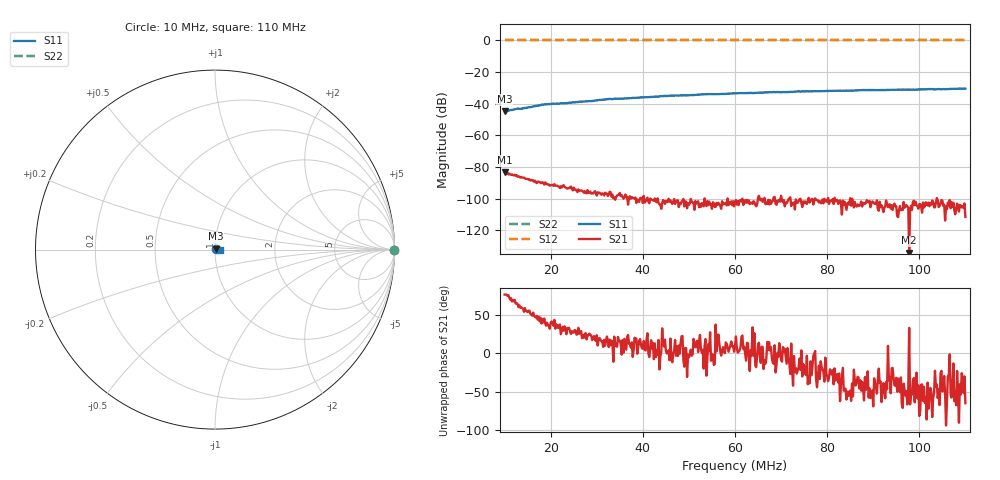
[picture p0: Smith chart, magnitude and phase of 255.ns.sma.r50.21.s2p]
! Anritsu VNA Master:  Model: MS2036C/10/77
! SN:  1601066
! /card0/usr/255.ns.sma.r50.21.s2p
! Existing Calibration Information:
! TYPE:  Current Settings,  Active Cal Settings
! TIME:  12/19/2017 07:12:53 PM,  12/19/2017 06:59:48 PM
! INTERNAL TEMP:  40.0 C,  39.3 C
! # POINTS:  501,  501
! START FREQ:  10.000 MHz,  10.000 MHz
! STOP FREQ:  110.000 MHz,  110.000 MHz
! SOURCE POWER:  High,  High
! IFBW:  100 Hz,  100 Hz
! AVG FACTOR:  1 ,  1
! REF PLANE 1:  0 mm,  0 mm
! REF PLANE 2:  0 mm,  0 mm
! CAL TYPE:  Full S11,  Full S11
! CAL METHOD:  SOLT,  SOLT
! CAL LINE TYPE:  Coax,  Coax
! DUT PORT 1:  N-Conn(F),  N-Conn(F)
! DUT PORT 2:  K-Conn(F),  K-Conn(F)
! CAL STATUS:  OK: Accuracy High,  --
# GHZ S DB R 50.0
! FREQ.GHZ  S11DB  S11A  S21DB  S21A  S12DB  S12A  S22DB  S22A
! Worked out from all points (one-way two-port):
!   501 points, 10 MHz to 110 MHz, reference 50 ohm
!   highest |S21| = -83.24 dB at 10 MHz (marker M1); lowest = -134.2 dB at 97.8 MHz (marker M2)
!   lowest |S11| = -44.9 dB at 10 MHz (marker M3), VSWR 1.01, Z = 50.3 + j0.5 ohm
!   |S11| at or under -10 dB: start of sweep to end of sweep
!   |S22| runs from 0.0 to 0.0 dB; largest |S21 - S12| = 1
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0.01  -44.87 60.7  -83.24 76.6  0.00 0.0  0.00 0.0
0.0126  -43.31 61.9  -85.15 65.3  0.00 0.0  0.00 0.0
0.0138  -43.08 60.5  -86.56 59.1  0.00 0.0  0.00 0.0
0.0184  -40.62 55.7  -89.95 40.3  0.00 0.0  0.00 0.0
0.0232  -39.58 54.3  -92.86 32.0  0.00 0.0  0.00 0.0
0.0268  -38.71 51.5  -94.99 19.7  0.00 0.0  0.00 0.0
0.0288  -38.30 49.6  -96.71 23.2  0.00 0.0  0.00 0.0
0.0324  -37.04 47.8  -98.29 16.5  0.00 0.0  0.00 0.0
0.036  -36.64 47.5  -99.43 18.8  0.00 0.0  0.00 0.0
0.0434  -35.47 41.0  -102.71 17.4  0.00 0.0  0.00 0.0
0.0468  -34.83 40.8  -100.17 3.7  0.00 0.0  0.00 0.0
0.0498  -34.64 38.3  -102.95 -1.6  0.00 0.0  0.00 0.0
0.0534  -33.97 35.5  -99.78 9.1  0.00 0.0  0.00 0.0
0.0562  -33.91 34.8  -103.87 16.4  0.00 0.0  0.00 0.0
0.06  -33.49 31.4  -102.55 8.8  0.00 0.0  0.00 0.0
0.0736  -32.24 22.6  -102.63 -22.6  0.00 0.0  0.00 0.0
0.0768  -32.19 21.1  -100.09 -17.7  0.00 0.0  0.00 0.0
0.0852  -31.71 14.9  -104.39 -62.1  0.00 0.0  0.00 0.0
0.088  -31.30 13.1  -102.99 -61.4  0.00 0.0  0.00 0.0
0.0934  -31.24 9.2  -103.86 -35.3  0.00 0.0  0.00 0.0
0.0978  -31.07 6.9  -134.17 33.0  0.00 0.0  0.00 0.0
0.11  -30.50 -0.4  -111.53 -65.1  0.00 0.0  0.00 0.0
